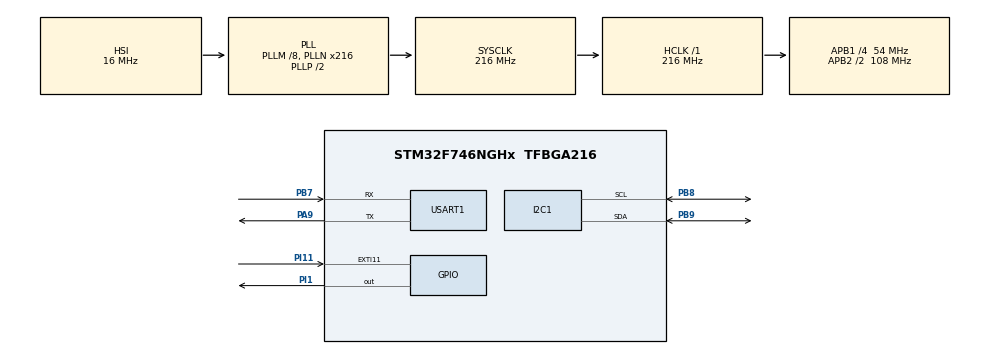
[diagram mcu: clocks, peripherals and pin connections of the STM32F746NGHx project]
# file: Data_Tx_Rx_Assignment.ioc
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Mcu.Family=STM32F7
RCC.CortexFreq_Value=216000000
RCC.APB1CLKDivider=RCC_HCLK_DIV4
RCC.SYSCLKSource=RCC_SYSCLKSOURCE_PLLCLK
ProjectManager.StackSize=0x400
RCC.PLLSAIRDiv=RCC_PLLSAIDIVR_8
USART1.VirtualMode-Asynchronous=VM_ASYNC
PA9.Mode=Asynchronous
ProjectManager.TargetToolchain=STM32CubeIDE
RCC.PLL48CLockSelection=RCC_CLK48SOURCE_PLLSAIP
RCC.HCLKFreq_Value=216000000
RCC.APB2TimFreq_Value=216000000
PB9.Mode=I2C
PA9.Signal=USART1_TX
I2C1.Timing=0x20404768
RCC.USBFreq_Value=96000000
RCC.LSE_VALUE=32768
RCC.AHBFreq_Value=216000000
RCC.HSE_VALUE=25000000
board=STM32F746G-DISCO
RCC.VCOOutputFreq_Value=432000000
RCC.APB2Freq_Value=108000000
PI1.Signal=GPIO_Output
PB7.Signal=USART1_RX
Mcu.Name=STM32F746NGHx
RCC.SYSCLKFreq_VALUE=216000000
Mcu.Package=TFBGA216
PB9.Signal=I2C1_SDA
RCC.SDMMCClockSelection=RCC_SDMMC1CLKSOURCE_CLK48
PB7.Mode=Asynchronous
ProjectManager.HeapSize=0x200
RCC.HSI_VALUE=16000000
RCC.PLLSAIN=384
RCC.PLLSAIP=RCC_PLLSAIP_DIV8
RCC.PLLQ=9
NVIC.PriorityGroup=NVIC_PRIORITYGROUP_4
RCC.PLLSAIR=5
RCC.APB2CLKDivider=RCC_HCLK_DIV2
RCC.PLLM=8
PB8.Mode=I2C
RCC.PLLN=216
RCC.APB1TimFreq_Value=108000000
PB8.Signal=I2C1_SCL
PI11.Signal=GPXTI11
RCC.APB1Freq_Value=54000000
RCC.PLLI2SN=100

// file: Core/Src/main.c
/* USER CODE BEGIN Header */
/**
  ******************************************************************************
  * @file           : main.c
  * @brief          : Main program body
  ******************************************************************************
  * @attention
  *
  * <h2><center>&copy; Copyright (c) 2021 STMicroelectronics.
  * All rights reserved.</center></h2>
  *
  * This software component is licensed by ST under BSD 3-Clause license,
  * the "License"; You may not use this file except in compliance with the
  * License. You may obtain a copy of the License at:
  *                        opensource.org/licenses/BSD-3-Clause
  *
  ******************************************************************************
  */
/* USER CODE END Header */
#include "main.h"

/* USER CODE BEGIN Includes */
#include <stdio.h>
#include "monitor.h"
/* USER CODE END Includes */

I2C_HandleTypeDef hi2c1;

UART_HandleTypeDef huart1;

void SystemClock_Config(void);
static void MX_GPIO_Init(void);
static void MX_I2C1_Init(void);
static void MX_USART1_UART_Init(void);

int main(void)
{

  /* MCU Configuration--------------------------------------------------------*/

  /* Reset of all peripherals, Initializes the Flash interface and the Systick. */
  HAL_Init();

  /* Configure the system clock */
  SystemClock_Config();

  /* Initialize all configured peripherals */
  MX_GPIO_Init();
  MX_I2C1_Init();
  MX_USART1_UART_Init();
  /* USER CODE BEGIN 2 */

  int number_of_data_blocks = 0;
  int temp_blocks = 0;
  TRANSFER_STATUS status;

  // Check connection between monitor M and device A and device B
  MONITOR_RESULT result;
  result = Is_device_M_to_A_connected();
  if(result != CONNECT_OK) {
	  Error_Handler();
  }
  result = Is_device_M_to_B_connected();
  if(result != CONNECT_OK) {
	  Error_Handler();
  }
  result = Is_device_A_to_B_connected();
  if(result != CONNECT_OK) {
	  Error_Handler();
  }

  /* Print input string details */
  sprintf(uart_tx_buffer, "INPUT STRING: %s\n", input_string);
  memset(uart_tx_buffer, 0, strlen(uart_tx_buffer));

  // get length of string
  int string_length = strlen(input_string);
  sprintf(uart_tx_buffer, "LENGTH OF STRING: %d\n", string_length);
  memset(uart_tx_buffer, 0, strlen(uart_tx_buffer));

  // get total number of data blocks in the input string
  number_of_data_blocks = get_data_blocks(string_length);
  sprintf(uart_tx_buffer, "DATA BLOCKS: %d\n", number_of_data_blocks);
  memset(uart_tx_buffer, 0, strlen(uart_tx_buffer));

  /* USER CODE END 2 */

  /* Infinite loop */
  while (1)
  {

    /* USER CODE BEGIN 3 */

	  // storing total value of data blocks in a temporary variable to be used again
	  temp_blocks = number_of_data_blocks;

	  // data transfer when A is transmitter and B is receiver
	  status = transfer_data_A_to_B(input_string, temp_blocks);
	  if(status != TRANSFER_OK) {
		  Error_Handler();
	  }

	  sprintf(uart_tx_buffer, "DATA TRANSFER FROM A TO B SUCCESSFUL!\n");
	  HAL_UART_Transmit(&huart1, (uint8_t *)uart_tx_buffer, strlen(uart_tx_buffer), HAL_MAX_DELAY);

	  // data transfer when B is transmitter and A is receiver
	  status = transfer_data_B_to_A(input_string, temp_blocks);
	  if(status != TRANSFER_OK) {
		  Error_Handler();
	  }

	  sprintf(uart_tx_buffer, "DATA TRANSFER FROM B TO A SUCCESSFUL!\n");
	  HAL_UART_Transmit(&huart1, (uint8_t *)uart_tx_buffer, strlen(uart_tx_buffer), HAL_MAX_DELAY);
  }
  /* USER CODE END 3 */
}

void SystemClock_Config(void)
{
  RCC_OscInitTypeDef RCC_OscInitStruct = {0};
  RCC_ClkInitTypeDef RCC_ClkInitStruct = {0};
  RCC_PeriphCLKInitTypeDef PeriphClkInitStruct = {0};

  /** Configure the main internal regulator output voltage
  */
  __HAL_RCC_PWR_CLK_ENABLE();
  __HAL_PWR_VOLTAGESCALING_CONFIG(PWR_REGULATOR_VOLTAGE_SCALE1);
  /** Initializes the RCC Oscillators according to the specified parameters
  * in the RCC_OscInitTypeDef structure.
  */
  RCC_OscInitStruct.OscillatorType = RCC_OSCILLATORTYPE_HSI;
  RCC_OscInitStruct.HSIState = RCC_HSI_ON;
  RCC_OscInitStruct.HSICalibrationValue = RCC_HSICALIBRATION_DEFAULT;
  RCC_OscInitStruct.PLL.PLLState = RCC_PLL_ON;
  RCC_OscInitStruct.PLL.PLLSource = RCC_PLLSOURCE_HSI;
  RCC_OscInitStruct.PLL.PLLM = 8;
  RCC_OscInitStruct.PLL.PLLN = 216;
  RCC_OscInitStruct.PLL.PLLP = RCC_PLLP_DIV2;
  RCC_OscInitStruct.PLL.PLLQ = 9;
  if (HAL_RCC_OscConfig(&RCC_OscInitStruct) != HAL_OK)
  {
    Error_Handler();
  }
  /** Activate the Over-Drive mode
  */
  if (HAL_PWREx_EnableOverDrive() != HAL_OK)
  {
    Error_Handler();
  }
  /** Initializes the CPU, AHB and APB buses clocks
  */
  RCC_ClkInitStruct.ClockType = RCC_CLOCKTYPE_HCLK|RCC_CLOCKTYPE_SYSCLK
                              |RCC_CLOCKTYPE_PCLK1|RCC_CLOCKTYPE_PCLK2;
  RCC_ClkInitStruct.SYSCLKSource = RCC_SYSCLKSOURCE_PLLCLK;
  RCC_ClkInitStruct.AHBCLKDivider = RCC_SYSCLK_DIV1;
  RCC_ClkInitStruct.APB1CLKDivider = RCC_HCLK_DIV4;
  RCC_ClkInitStruct.APB2CLKDivider = RCC_HCLK_DIV2;

  if (HAL_RCC_ClockConfig(&RCC_ClkInitStruct, FLASH_LATENCY_7) != HAL_OK)
  {
    Error_Handler();
  }
  PeriphClkInitStruct.PeriphClockSelection = RCC_PERIPHCLK_USART1|RCC_PERIPHCLK_I2C1;
  PeriphClkInitStruct.Usart1ClockSelection = RCC_USART1CLKSOURCE_PCLK2;
  PeriphClkInitStruct.I2c1ClockSelection = RCC_I2C1CLKSOURCE_PCLK1;
  if (HAL_RCCEx_PeriphCLKConfig(&PeriphClkInitStruct) != HAL_OK)
  {
    Error_Handler();
  }
}

static void MX_I2C1_Init(void)
{

  hi2c1.Instance = I2C1;
  hi2c1.Init.Timing = 0x20404768;
  hi2c1.Init.OwnAddress1 = 0;
  hi2c1.Init.AddressingMode = I2C_ADDRESSINGMODE_7BIT;
  hi2c1.Init.DualAddressMode = I2C_DUALADDRESS_DISABLE;
  hi2c1.Init.OwnAddress2 = 0;
  hi2c1.Init.OwnAddress2Masks = I2C_OA2_NOMASK;
  hi2c1.Init.GeneralCallMode = I2C_GENERALCALL_DISABLE;
  hi2c1.Init.NoStretchMode = I2C_NOSTRETCH_DISABLE;
  if (HAL_I2C_Init(&hi2c1) != HAL_OK)
  {
    Error_Handler();
  }
  /** Configure Analogue filter
  */
  if (HAL_I2CEx_ConfigAnalogFilter(&hi2c1, I2C_ANALOGFILTER_ENABLE) != HAL_OK)
  {
    Error_Handler();
  }
  /** Configure Digital filter
  */
  if (HAL_I2CEx_ConfigDigitalFilter(&hi2c1, 0) != HAL_OK)
  {
    Error_Handler();
  }

}

static void MX_USART1_UART_Init(void)
{

  huart1.Instance = USART1;
  huart1.Init.BaudRate = 115200;
  huart1.Init.WordLength = UART_WORDLENGTH_8B;
  huart1.Init.StopBits = UART_STOPBITS_1;
  huart1.Init.Parity = UART_PARITY_NONE;
  huart1.Init.Mode = UART_MODE_TX_RX;
  huart1.Init.HwFlowCtl = UART_HWCONTROL_NONE;
  huart1.Init.OverSampling = UART_OVERSAMPLING_16;
  huart1.Init.OneBitSampling = UART_ONE_BIT_SAMPLE_DISABLE;
  huart1.AdvancedInit.AdvFeatureInit = UART_ADVFEATURE_NO_INIT;
  if (HAL_UART_Init(&huart1) != HAL_OK)
  {
    Error_Handler();
  }

}

static void MX_GPIO_Init(void)
{
  GPIO_InitTypeDef GPIO_InitStruct = {0};

  /* GPIO Ports Clock Enable */
  __HAL_RCC_GPIOB_CLK_ENABLE();
  __HAL_RCC_GPIOI_CLK_ENABLE();
  __HAL_RCC_GPIOA_CLK_ENABLE();

  /*Configure GPIO pin Output Level */
  HAL_GPIO_WritePin(GPIOI, GPIO_PIN_1, GPIO_PIN_RESET);

  /*Configure GPIO pin : PI1 */
  GPIO_InitStruct.Pin = GPIO_PIN_1;
  GPIO_InitStruct.Mode = GPIO_MODE_OUTPUT_PP;
  GPIO_InitStruct.Pull = GPIO_NOPULL;
  GPIO_InitStruct.Speed = GPIO_SPEED_FREQ_LOW;
  HAL_GPIO_Init(GPIOI, &GPIO_InitStruct);

  /*Configure GPIO pin : PI11 */
  GPIO_InitStruct.Pin = GPIO_PIN_11;
  GPIO_InitStruct.Mode = GPIO_MODE_IT_RISING;
  GPIO_InitStruct.Pull = GPIO_NOPULL;
  HAL_GPIO_Init(GPIOI, &GPIO_InitStruct);

}

void Error_Handler(void)
{
  __disable_irq();
  while (1)
  {
  }
}

/************************ (C) COPYRIGHT STMicroelectronics *****END OF FILE****/
